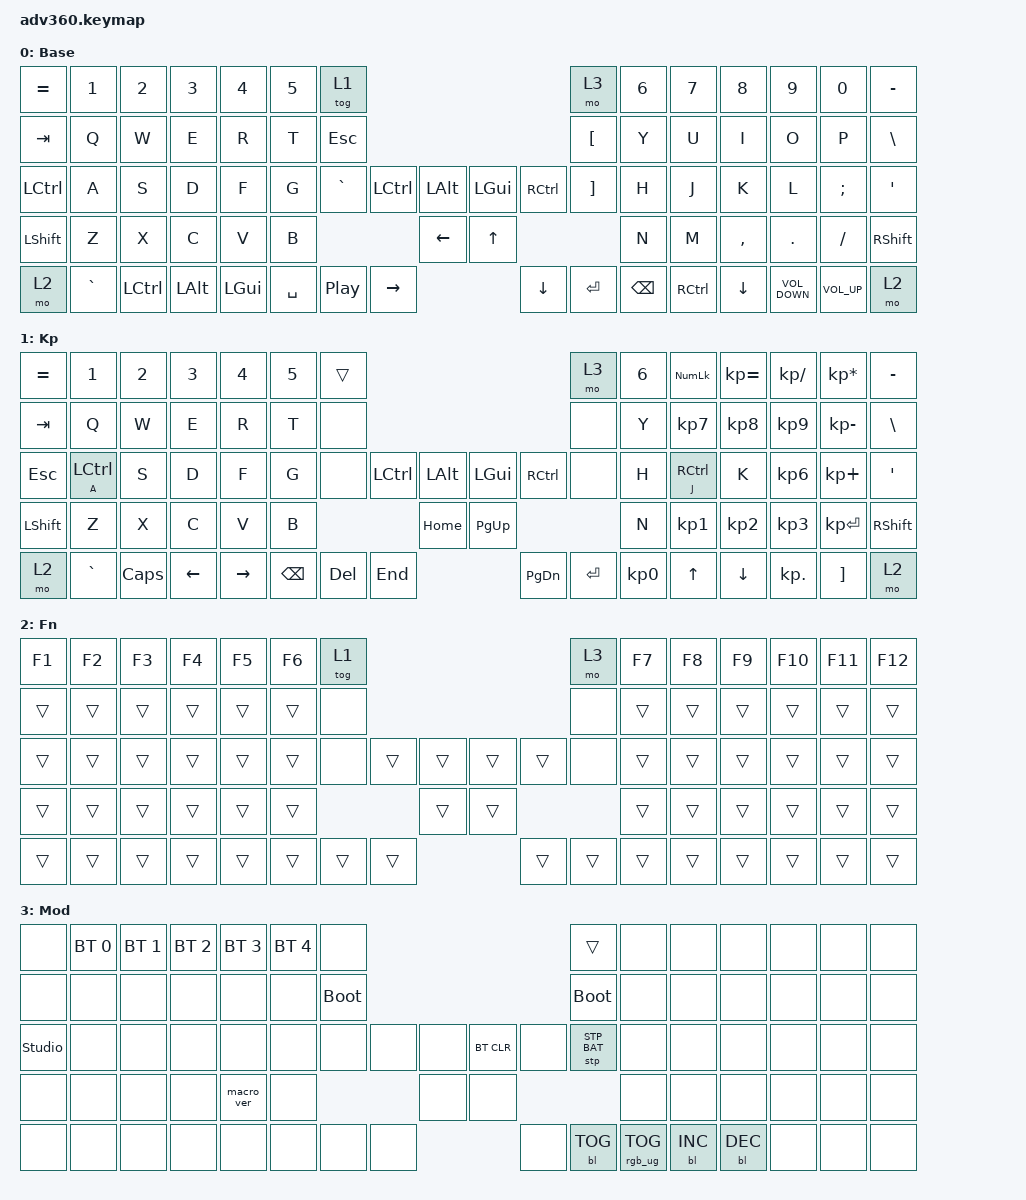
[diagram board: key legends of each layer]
#include <behaviors.dtsi>
#include <dt-bindings/zmk/keys.h>
#include <dt-bindings/zmk/bt.h>
#include <dt-bindings/zmk/rgb.h>
#include <dt-bindings/zmk/stp.h>
#include <dt-bindings/zmk/backlight.h>
#include <dt-bindings/zmk/pointing.h>

/ {
    behaviors {
      #include "macros.dtsi"
      #include "version.dtsi"

      hm: homerow_mods {
          compatible = "zmk,behavior-hold-tap";
          label = "HOMEROW_MODS";
          #binding-cells = <2>;
          tapping-term-ms = <280>;
          quick_tap_ms = <175>;
          flavor = "balanced";
          bindings = <&kp>, <&kp>;
      };
      hmr: home_row_mod_right {
          compatible = "zmk,behavior-hold-tap";
          #binding-cells = <2>;
          flavor = "balanced";
          require-prior-idle-ms = <150>;
          tapping-term-ms = <280>;
          quick-tap-ms = <175>;
          bindings = <&kp>, <&kp>;
      };
    };

  keymap {
    compatible = "zmk,keymap";

    default_layer {
      display-name = "Base";
      bindings = <
        &kp EQUAL &kp N1    &kp N2   &kp N3   &kp N4     &kp N5 &tog 1                                                           &mo 3 &kp N6 &kp N7 &kp N8    &kp N9   &kp N0   &kp MINUS
        &kp TAB   &kp Q     &kp W    &kp E    &kp R      &kp T  &kp ESC                                                          &kp LBKT  &kp Y  &kp U  &kp I     &kp O    &kp P    &kp BSLH
        &kp LCTRL  &kp A    &kp S    &kp D    &kp F      &kp G  &kp GRAVE     &kp LCTRL &kp LALT &kp LGUI  &kp RCTRL      &kp RBKT  &kp H  &kp J  &kp K     &kp L    &kp SEMI &kp SQT
        &kp LSHFT &kp Z     &kp X    &kp C    &kp V      &kp B                            &kp LEFT &kp UP                                  &kp N  &kp M  &kp COMMA &kp DOT  &kp FSLH &kp RSHFT
        &mo 2     &kp GRAVE &kp LCTRL &kp LALT &kp LGUI                &kp SPACE &kp C_PLAY_PAUSE   &kp RIGHT  &kp DOWN &kp ENTER &kp BSPC     &kp RCTRL &kp DOWN  &kp C_VOLUME_DOWN &kp C_VOLUME_UP &mo 2
      >;
    };
    keypad {
      display-name = "Kp";
      bindings = <
        &kp EQUAL &kp N1    &kp N2   &kp N3   &kp N4     &kp N5 &trans                                                           &mo 3 &kp N6 &kp KP_NUM &kp KP_EQUAL &kp KP_DIVIDE &kp KP_MULTIPLY &kp MINUS
        &kp TAB   &kp Q     &kp W    &kp E    &kp R      &kp T  &none                                                            &none &kp Y  &kp KP_N7  &kp KP_N8    &kp KP_N9     &kp KP_MINUS    &kp BSLH
        &kp ESC   &hm A  LCTRL  &kp S    &kp D    &kp F      &kp G  &none           &kp LCTRL &kp LALT &kp LGUI  &kp RCTRL           &none &kp H  &hmr J  RCTRL &kp K    &kp KP_N6     &kp KP_PLUS     &kp SQT
        &kp LSHFT &kp Z     &kp X    &kp C    &kp V      &kp B                            &kp HOME &kp PG_UP                           &kp N  &kp KP_N1  &kp KP_N2    &kp KP_N3     &kp KP_ENTER    &kp RSHFT
        &mo 2     &kp GRAVE &kp CAPS &kp LEFT &kp RIGHT                &kp BSPC &kp DEL   &kp END  &kp PG_DN &kp ENTER &kp KP_N0              &kp UP     &kp DOWN     &kp KP_DOT    &kp RBKT        &mo 2
      >;
    };
    fn {
      display-name = "Fn";
      bindings = <
        &kp F1 &kp F2 &kp F3 &kp F4 &kp F5 &kp F6 &tog 1                                           &mo 3 &kp F7 &kp F8 &kp F9 &kp F10 &kp F11 &kp F12
        &trans &trans &trans &trans &trans &trans  &none                                           &none &trans &trans &trans &trans  &trans  &trans
        &trans &trans &trans &trans &trans &trans  &none        &trans &trans &trans &trans        &none &trans &trans &trans &trans  &trans  &trans
        &trans &trans &trans &trans &trans &trans                      &trans &trans                     &trans &trans &trans &trans  &trans  &trans
        &trans &trans &trans &trans &trans               &trans &trans &trans &trans &trans &trans              &trans &trans &trans  &trans  &trans
      >;
    };
    mod {
      display-name = "Mod";
      bindings = <
        &none &bt BT_SEL 0 &bt BT_SEL 1 &bt BT_SEL 2 &bt BT_SEL 3 &bt BT_SEL 4 &none                                                                     &trans                 &none        &none        &none        &none &none &none
        &none &none        &none        &none        &none        &none        &bootloader                                                               &bootloader            &none        &none        &none        &none &none &none
        &studio_unlock &none        &none        &none        &none        &none        &none                   &none &none &bt BT_CLR &none                      &stp STP_BAT &none        &none        &none        &none &none &none
        &none &none        &none        &none        &macro_ver   &none                                      &none &none                                                        &none        &none        &none        &none &none &none
        &none &none        &none        &none        &none                                       &none &none &none &none      &bl BL_TOG &rgb_ug RGB_TOG                                     &bl BL_INC   &bl BL_DEC   &none &none &none
      >;
    };
    extra1 { 
      display-name = "Red";    
      status = "reserved";
    };

    extra2 { 
      display-name = "Purple";    
      status = "reserved";
    };

    extra3 { 
      display-name = "Cyan";    
      status = "reserved";
    };

    extra4 { 
      display-name = "Yellow";    
      status = "reserved";
    };
  };
};
